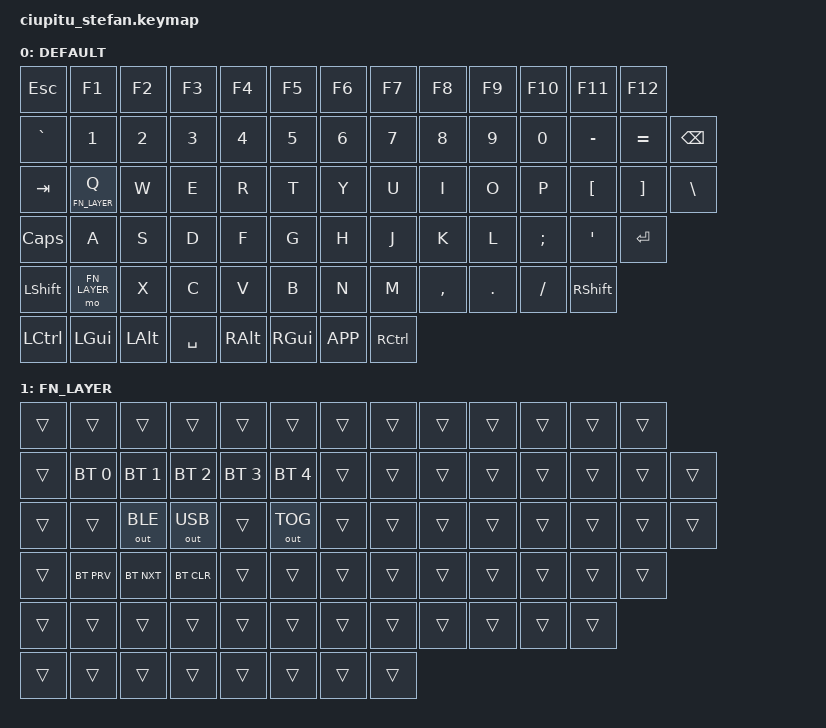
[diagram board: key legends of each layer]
#include <behaviors.dtsi>
#include <dt-bindings/zmk/keys.h>
#include <dt-bindings/zmk/outputs.h>         // Include pentru &out
#include <dt-bindings/zmk/bt.h>             // Include pentru &bt
#include <dt-bindings/zmk/hid_usage.h>      // Pentru HID Usage ID-uri (opțional)
#include <dt-bindings/zmk/hid_usage_pages.h> // Pentru HID Usage Pages (opțional)

// Definirea numelor straturilor pentru claritate
#define DEFAULT 0
#define FN_LAYER 1 // Noul nostru strat pentru funcții

/ {
    keymap {
        compatible = "zmk,keymap";

        default_layer {
            label = "DEFAULT"; // Opțional, pentru identificare
            bindings = <
                // Rândul 0 (Fizic: Rândul de sus - Esc, F1-F12) - 13 taste
                // Pozițiile 0-12
                &kp ESC     &kp F1      &kp F2      &kp F3      &kp F4      &kp F5      &kp F6      &kp F7      &kp F8      &kp F9      &kp F10     &kp F11     &kp F12

                // Rândul 1 (Fizic: Rândul cifrelor - ~, 1-0, -, =, Backspace) - 14 taste
                // Pozițiile 13-26
                &kp GRAVE   &kp N1      &kp N2      &kp N3      &kp N4      &kp N5      &kp N6      &kp N7      &kp N8      &kp N9      &kp N0      &kp MINUS   &kp EQUAL   &kp BSPC

                // Rândul 2 (Fizic: Rândul QWERTY - Tab, Q-P, [, ], \) - 14 taste
                // Pozițiile 27-40
                &kp TAB      &lt FN_LAYER Q      &kp W       &kp E       &kp R       &kp T       &kp Y       &kp U       &kp I       &kp O       &kp P       &kp LBKT    &kp RBKT    &kp BSLH

                // Rândul 3 (Fizic: Rândul ASDF - CapsLock, A-L, ;, ', Enter) - 13 taste
                // Pozițiile 41-53
                &kp CAPS    &kp A       &kp S       &kp D       &kp F       &kp G       &kp H       &kp J       &kp K       &kp L       &kp SEMI    &kp SQT     &kp RET

                // Rândul 4 (Fizic: Rândul ZXCV - LShift, Z-/, RShift) - 12 taste
                // Pozițiile 54-65. Tasta Z (poziția 55) devine FN_LAYER.
                &kp LSHFT   &mo FN_LAYER &kp X       &kp C       &kp V       &kp B       &kp N       &kp M       &kp COMMA   &kp DOT     &kp SLASH   &kp RSHFT
                         /* ^ Aici era &kp Z, acum este &mo FN_LAYER */

                // Rândul 5 (Fizic: Rândul de jos - LCtrl, LWin, LAlt, Space, RAlt, RWin, Menu, RCtrl) - 8 taste
                // Pozițiile 66-73
                &kp LCTRL   &kp LGUI    &kp LALT    &kp SPACE   &kp RALT    &kp RGUI    &kp K_APP   &kp RCTRL
            >;

            // sensor-bindings = <...>; // Comentat dacă nu ai senzori
        };

        fn_layer {
            label = "FN_LAYER"; // Opțional
            bindings = <
                // Rândul 0 - Toate &trans (transparente)
                // Pozițiile 0-12
                &trans      &trans      &trans      &trans      &trans      &trans      &trans      &trans      &trans      &trans      &trans      &trans      &trans

                // Rândul 1 - Tastele 1-5 pentru BT_SEL (Profiluri BT 0-4), restul &trans
                // Pozițiile 13-26
                &trans      &bt BT_SEL 0 &bt BT_SEL 1 &bt BT_SEL 2 &bt BT_SEL 3 &bt BT_SEL 4 &trans      &trans      &trans      &trans      &trans      &trans      &trans      &trans

                // Rândul 2 - Q,W,E pentru Output Select, restul &trans
                // Pozițiile 27-40
                &trans      &trans &out OUT_BLE &out OUT_USB &trans   &out OUT_TOG      &trans      &trans      &trans      &trans      &trans      &trans      &trans      &trans

                // Rândul 3 - A,S,D pentru BT Prev/Next/Clear, restul &trans
                // Pozițiile 41-53
                &trans      &bt BT_PRV  &bt BT_NXT  &bt BT_CLR  &trans      &trans      &trans      &trans      &trans      &trans      &trans      &trans      &trans

                // Rândul 4 - Poziția tastei Z (care activează stratul) este &trans. Restul &trans.
                // Pozițiile 54-65
                &trans      &trans      &trans      &trans      &trans      &trans      &trans      &trans      &trans      &trans      &trans      &trans

                // Rândul 5 - Toate &trans
                // Pozițiile 66-73
                &trans      &trans      &trans      &trans      &trans      &trans      &trans      &trans
            >;
        };
    };
};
